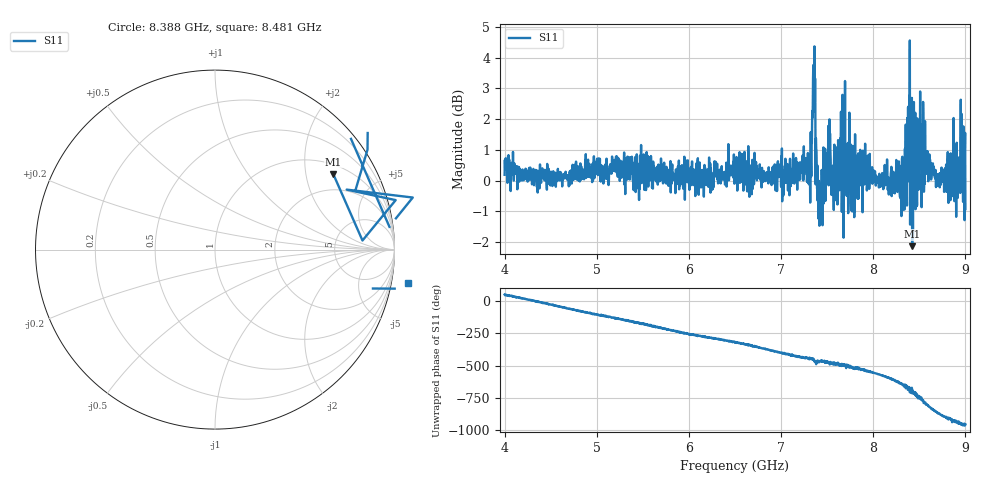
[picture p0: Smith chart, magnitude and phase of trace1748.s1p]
! Created with skrf 1.8.0 (http://scikit-rf.org).
# Hz S RI R 50.0
!freq ReS11 ImS11
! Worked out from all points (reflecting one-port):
!   1601 points, 4 GHz to 9 GHz, reference 50 ohm
!   lowest |S11| = -2.1 dB at 8.422 GHz (marker M1), VSWR 8.17, Z = 66.1 + j143 ohm
!   phase of S11 starts at 53 deg and turns -1010 deg over the sweep
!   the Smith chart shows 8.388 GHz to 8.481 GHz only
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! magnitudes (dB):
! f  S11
! 4 GHz  0.2
! 4.625 GHz  -0.2
! 5.25 GHz  0.0
! 5.875 GHz  0.2
! 6.5 GHz  0.4
! 7.125 GHz  0.4
! 7.303 GHz  -0.1
! 7.347 GHz  3.3
! 7.369 GHz  3.3
! 7.4 GHz  -0.1
! 7.428 GHz  -1.0
! 7.512 GHz  1.8
! 7.591 GHz  0.6
! 7.669 GHz  1.8
! 7.703 GHz  -0.3
! 7.75 GHz  -0.1
! 7.775 GHz  0.8
! 7.828 GHz  0.8
! 8.316 GHz  0.8
! 8.375 GHz  0.0
! 8.394 GHz  1.1
! 8.406 GHz  0.6
! 8.422 GHz  -2.1
! 8.522 GHz  1.8
! 8.697 GHz  -0.2
! 8.903 GHz  1.1
! 8.972 GHz  0.2
! 9 GHz  -0.9
